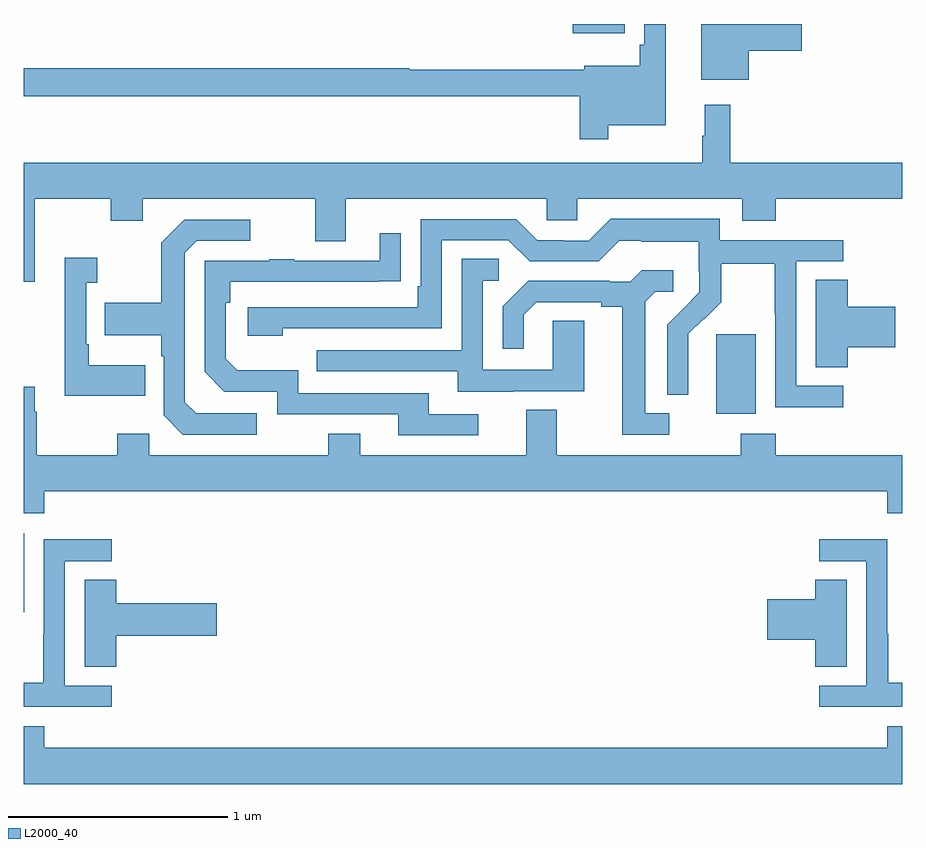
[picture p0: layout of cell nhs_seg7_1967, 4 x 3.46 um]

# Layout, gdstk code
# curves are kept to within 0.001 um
import gdstk
lib = gdstk.Library(unit=1e-6, precision=1e-09)
def R(c, l, rs):  # rectangles x0, y0, x1, y1
    for r in rs: c.add(gdstk.rectangle(r[:2], r[2:], *l))
def P(c, l, *ps):  # polygons
    for p in ps: c.add(gdstk.Polygon(p, *l))
L2000_40 = (2000, 40)

nhs_seg7_1967 = lib.new_cell('nhs_seg7_1967')
R(nhs_seg7_1967, L2000_40, [(241,1077.321,241.003,1077.682), (244.154,1078.226,244.333,1078.587), (243.5,1079.957,243.736,1080)])
P(nhs_seg7_1967, L2000_40, [(243.661,1079.54),(243.922,1079.54),(243.922,1080),(243.825,1080),(243.825,1079.905),(243.805,1079.905),(243.805,1079.809),(243.551,1079.809),(243.551,1079.791),(242.755,1079.791),(242.755,1079.798),(241,1079.798),(241,1079.67),(243.532,1079.67),(243.532,1079.475),(243.661,1079.475)],
  [(244.3,1079.879),(244.543,1079.879),(244.543,1080),(244.085,1080),(244.085,1079.747),(244.3,1079.747)],
  [(241,1078.827),(241.051,1078.827),(241.051,1079.204),(241.396,1079.204),(241.396,1079.105),(241.543,1079.105),(241.543,1079.204),(242.327,1079.204),(242.327,1079.01),(242.467,1079.01),(242.467,1079.204),(243.381,1079.204),(243.381,1079.106),(243.519,1079.106),(243.519,1079.204),(244.271,1079.204),(244.271,1079.105),(244.424,1079.105),(244.424,1079.204),(245,1079.204),(245,1079.368),(244.217,1079.368),(244.217,1079.632),(244.1,1079.632),(244.1,1079.492),(244.089,1079.492),(244.089,1079.368),(241,1079.368)],
  [(244.732,1078.353),(244.518,1078.353),(244.518,1078.92),(244.732,1078.92),(244.732,1079.016),(244.17,1079.016),(244.17,1079.113),(243.673,1079.113),(243.573,1079.013),(243.458,1079.013),(243.458,1079.016),(243.339,1079.016),(243.243,1079.112),(242.808,1079.112),(242.808,1078.807),(242.795,1078.807),(242.795,1078.71),(242.019,1078.71),(242.019,1078.58),(242.18,1078.58),(242.18,1078.614),(242.904,1078.614),(242.904,1079.016),(243.207,1079.016),(243.303,1078.92),(243.618,1078.92),(243.711,1079.013),(243.811,1079.013),(243.811,1079.009),(244.074,1079.009),(244.074,1078.875),(244.076,1078.875),(244.076,1078.778),(243.93,1078.63),(243.93,1078.312),(244.026,1078.312),(244.025,1078.589),(244.095,1078.659),(244.098,1078.656),(244.175,1078.733),(244.175,1078.908),(244.42,1078.908),(244.42,1078.684),(244.422,1078.684),(244.422,1078.255),(244.732,1078.255)],
  [(242.062,1078.227),(241.785,1078.227),(241.734,1078.278),(241.734,1078.959),(241.788,1079.013),(242.032,1079.013),(242.032,1079.109),(241.731,1079.109),(241.626,1079.003),(241.626,1078.731),(241.369,1078.731),(241.369,1078.583),(241.626,1078.583),(241.626,1078.487),(241.638,1078.487),(241.638,1078.218),(241.725,1078.131),(242.062,1078.131)],
  [(243.07,1078.224),(242.845,1078.224),(242.845,1078.32),(242.25,1078.32),(242.25,1078.423),(241.973,1078.423),(241.92,1078.476),(241.92,1078.73),(241.94,1078.73),(241.94,1078.827),(242.717,1078.828),(242.717,1079.047),(242.621,1079.047),(242.621,1078.923),(242.231,1078.923),(242.231,1078.928),(242.119,1078.928),(242.119,1078.923),(241.824,1078.923),(241.824,1078.416),(241.914,1078.326),(242.154,1078.326),(242.154,1078.224),(242.705,1078.224),(242.705,1078.128),(243.07,1078.128)],
  [(241.553,1078.447),(241.297,1078.447),(241.297,1078.543),(241.284,1078.543),(241.284,1078.823),(241.336,1078.823),(241.336,1078.936),(241.187,1078.936),(241.187,1078.307),(241.553,1078.307)],
  [(243.229,1078.329),(243.553,1078.329),(243.553,1078.649),(243.408,1078.649),(243.408,1078.425),(243.09,1078.425),(243.09,1078.83),(243.163,1078.83),(243.163,1078.931),(242.994,1078.931),(242.994,1078.515),(242.335,1078.515),(242.335,1078.419),(242.975,1078.419),(242.975,1078.325),(243.229,1078.325)],
  [(243.94,1078.227),(243.829,1078.227),(243.829,1078.735),(243.876,1078.782),(243.958,1078.782),(243.958,1078.879),(243.814,1078.879),(243.762,1078.827),(243.668,1078.827),(243.668,1078.83),(243.296,1078.83),(243.18,1078.714),(243.18,1078.521),(243.277,1078.521),(243.277,1078.677),(243.334,1078.734),(243.629,1078.734),(243.629,1078.712),(243.725,1078.712),(243.725,1078.131),(243.94,1078.131)],
  [(244.751,1078.529),(244.969,1078.529),(244.969,1078.712),(244.751,1078.712),(244.751,1078.835),(244.607,1078.835),(244.607,1078.438),(244.751,1078.438)],
  [(241.094,1077.872),(244.931,1077.872),(244.931,1077.773),(245,1077.773),(245,1078.036),(244.424,1078.036),(244.424,1078.135),(244.264,1078.135),(244.264,1078.036),(243.427,1078.036),(243.427,1078.244),(243.287,1078.244),(243.287,1078.036),(242.533,1078.036),(242.533,1078.135),(242.386,1078.135),(242.386,1078.036),(241.572,1078.036),(241.572,1078.135),(241.426,1078.135),(241.426,1078.036),(241.059,1078.036),(241.059,1078.235),(241.051,1078.235),(241.051,1078.348),(241,1078.348),(241,1077.773),(241.094,1077.773)],
  [(241.402,1076.988),(241.188,1076.988),(241.188,1077.555),(241.402,1077.555),(241.402,1077.654),(241.092,1077.654),(241.092,1077.224),(241.09,1077.224),(241.09,1077.001),(241,1077.001),(241,1076.892),(241.402,1076.892)],
  [(245,1077.001),(244.935,1077.001),(244.935,1077.224),(244.932,1077.224),(244.932,1077.654),(244.623,1077.654),(244.623,1077.555),(244.836,1077.555),(244.836,1076.988),(244.623,1076.988),(244.623,1076.892),(245,1076.892)],
  [(244.747,1077.47),(244.604,1077.47),(244.604,1077.38),(244.386,1077.38),(244.386,1077.197),(244.604,1077.197),(244.604,1077.073),(244.747,1077.073)],
  [(241.421,1077.215),(241.879,1077.215),(241.879,1077.362),(241.421,1077.362),(241.421,1077.47),(241.277,1077.47),(241.277,1077.073),(241.421,1077.073)],
  [(245,1076.803),(244.931,1076.803),(244.931,1076.704),(241.094,1076.704),(241.094,1076.803),(241,1076.803),(241,1076.54),(245,1076.54)])

lib.write_gds('nhs_seg7_1967.gds')
